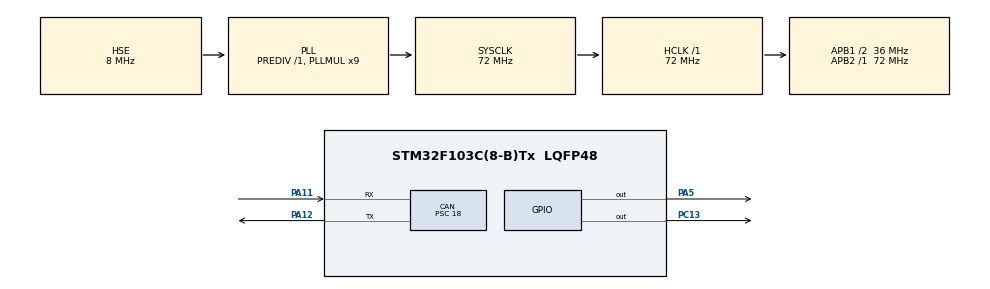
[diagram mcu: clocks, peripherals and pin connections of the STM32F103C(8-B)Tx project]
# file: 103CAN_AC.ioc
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CAN.BS1=CAN_BS1_2TQ
CAN.CalculateBaudRate=500000
CAN.CalculateTimeBit=2000
CAN.CalculateTimeQuantum=500.0
CAN.Prescaler=18
Mcu.Family=STM32F1
Mcu.Name=STM32F103C(8-B)Tx
Mcu.Package=LQFP48
NVIC.CAN1_RX1_IRQn=true\:0\:0\:false\:true\:true\:1\:true\:true\:true
NVIC.PriorityGroup=NVIC_PRIORITYGROUP_4
PA11.Mode=CAN_Activate
PA11.Signal=CAN_RX
PA12.Mode=CAN_Activate
PA12.Signal=CAN_TX
PA13.Mode=Serial_Wire
PA13.Signal=SYS_JTMS-SWDIO
PA14.Mode=Serial_Wire
PA14.Signal=SYS_JTCK-SWCLK
PA5.Signal=GPIO_Output
PC13-TAMPER-RTC.Signal=GPIO_Output
PD0-OSC_IN.Mode=HSE-External-Oscillator
PD0-OSC_IN.Signal=RCC_OSC_IN
PD1-OSC_OUT.Mode=HSE-External-Oscillator
PD1-OSC_OUT.Signal=RCC_OSC_OUT
ProjectManager.HeapSize=0x200
ProjectManager.StackSize=0x400
ProjectManager.TargetToolchain=STM32CubeIDE
RCC.AHBFreq_Value=72000000
RCC.APB1CLKDivider=RCC_HCLK_DIV2
RCC.APB1Freq_Value=36000000
RCC.APB1TimFreq_Value=72000000
RCC.APB2Freq_Value=72000000
RCC.APB2TimFreq_Value=72000000
RCC.HCLKFreq_Value=72000000
RCC.PLLMUL=RCC_PLL_MUL9
RCC.PLLSourceVirtual=RCC_PLLSOURCE_HSE
RCC.SYSCLKFreq_VALUE=72000000
RCC.SYSCLKSource=RCC_SYSCLKSOURCE_PLLCLK
RCC.USBFreq_Value=72000000
board=custom

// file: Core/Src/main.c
/* USER CODE BEGIN Header */
/**
  ******************************************************************************
  * @file           : main.c
  * @brief          : Main program body
  ******************************************************************************
  * @attention
  *
  * Copyright (c) 2024 STMicroelectronics.
  * All rights reserved.
  *
  * This software is licensed under terms that can be found in the LICENSE file
  * in the root directory of this software component.
  * If no LICENSE file comes with this software, it is provided AS-IS.
  *
  ******************************************************************************
  */
/* USER CODE END Header */
#include "main.h"

CAN_HandleTypeDef hcan;

/* USER CODE BEGIN PV */
CAN_RxHeaderTypeDef RxHeader;

uint8_t RxData[8];

uint32_t TxMailbox;

/* USER CODE END PV */

void SystemClock_Config(void);
static void MX_GPIO_Init(void);
static void MX_CAN_Init(void);
static void MX_NVIC_Init(void);

/* USER CODE BEGIN 0 */

void HAL_CAN_RxFifo1MsgPendingCallback(CAN_HandleTypeDef *hcan){

    HAL_CAN_GetRxMessage(hcan, CAN_RX_FIFO1, &RxHeader, RxData);

    if (RxHeader.StdId == 0x104) {
    	if(RxData[0] == 1){
    		HAL_GPIO_WritePin(GPIOA, GPIO_PIN_5, 1);
    		HAL_GPIO_WritePin(GPIOC, GPIO_PIN_13, 1);
    	}
    	else if(RxData[0] == 0){
    		HAL_GPIO_WritePin(GPIOA, GPIO_PIN_5, 0);
    		HAL_GPIO_WritePin(GPIOC, GPIO_PIN_13, 0);
    	}

    }
    else if(RxHeader.StdId == 0x200){
    	if(RxData[0] == 1){
    		HAL_GPIO_WritePin(GPIOA, GPIO_PIN_5, 1);
    		HAL_GPIO_WritePin(GPIOC, GPIO_PIN_13, 1);

    	}
    	else if(RxData[0] == 0){
    		HAL_GPIO_WritePin(GPIOA, GPIO_PIN_5, 0);
    		HAL_GPIO_WritePin(GPIOC, GPIO_PIN_13, 0);

    	}
    }

    HAL_CAN_ActivateNotification(&hcan, CAN_IT_RX_FIFO1_MSG_PENDING);
}
/* USER CODE END 0 */

int main(void)
{

  /* MCU Configuration--------------------------------------------------------*/

  /* Reset of all peripherals, Initializes the Flash interface and the Systick. */
  HAL_Init();

  /* Configure the system clock */
  SystemClock_Config();

  /* Initialize all configured peripherals */
  MX_GPIO_Init();
  MX_CAN_Init();

  /* Initialize interrupts */
  MX_NVIC_Init();
  /* USER CODE BEGIN 2 */
  HAL_CAN_Start(&hcan);

  //Activate the Notification
  HAL_CAN_ActivateNotification(&hcan, CAN_IT_RX_FIFO1_MSG_PENDING);

  /* USER CODE END 2 */

  /* Infinite loop */
  while (1)
  {

  }
}

void SystemClock_Config(void)
{
  RCC_OscInitTypeDef RCC_OscInitStruct = {0};
  RCC_ClkInitTypeDef RCC_ClkInitStruct = {0};

  /** Initializes the RCC Oscillators according to the specified parameters
  * in the RCC_OscInitTypeDef structure.
  */
  RCC_OscInitStruct.OscillatorType = RCC_OSCILLATORTYPE_HSE;
  RCC_OscInitStruct.HSEState = RCC_HSE_ON;
  RCC_OscInitStruct.HSEPredivValue = RCC_HSE_PREDIV_DIV1;
  RCC_OscInitStruct.HSIState = RCC_HSI_ON;
  RCC_OscInitStruct.PLL.PLLState = RCC_PLL_ON;
  RCC_OscInitStruct.PLL.PLLSource = RCC_PLLSOURCE_HSE;
  RCC_OscInitStruct.PLL.PLLMUL = RCC_PLL_MUL9;
  if (HAL_RCC_OscConfig(&RCC_OscInitStruct) != HAL_OK)
  {
    Error_Handler();
  }

  /** Initializes the CPU, AHB and APB buses clocks
  */
  RCC_ClkInitStruct.ClockType = RCC_CLOCKTYPE_HCLK|RCC_CLOCKTYPE_SYSCLK
                              |RCC_CLOCKTYPE_PCLK1|RCC_CLOCKTYPE_PCLK2;
  RCC_ClkInitStruct.SYSCLKSource = RCC_SYSCLKSOURCE_PLLCLK;
  RCC_ClkInitStruct.AHBCLKDivider = RCC_SYSCLK_DIV1;
  RCC_ClkInitStruct.APB1CLKDivider = RCC_HCLK_DIV2;
  RCC_ClkInitStruct.APB2CLKDivider = RCC_HCLK_DIV1;

  if (HAL_RCC_ClockConfig(&RCC_ClkInitStruct, FLASH_LATENCY_2) != HAL_OK)
  {
    Error_Handler();
  }
}

/**
  * @brief NVIC Configuration.
  * @retval None
  */
static void MX_NVIC_Init(void)
{
  /* CAN1_RX1_IRQn interrupt configuration */
  HAL_NVIC_SetPriority(CAN1_RX1_IRQn, 0, 0);
  HAL_NVIC_EnableIRQ(CAN1_RX1_IRQn);
}

static void MX_CAN_Init(void)
{

  hcan.Instance = CAN1;
  hcan.Init.Prescaler = 18;
  hcan.Init.Mode = CAN_MODE_NORMAL;
  hcan.Init.SyncJumpWidth = CAN_SJW_1TQ;
  hcan.Init.TimeSeg1 = CAN_BS1_2TQ;
  hcan.Init.TimeSeg2 = CAN_BS2_1TQ;
  hcan.Init.TimeTriggeredMode = DISABLE;
  hcan.Init.AutoBusOff = DISABLE;
  hcan.Init.AutoWakeUp = DISABLE;
  hcan.Init.AutoRetransmission = DISABLE;
  hcan.Init.ReceiveFifoLocked = DISABLE;
  hcan.Init.TransmitFifoPriority = DISABLE;
  if (HAL_CAN_Init(&hcan) != HAL_OK)
  {
    Error_Handler();
  }
  /* USER CODE BEGIN CAN_Init 2 */
  CAN_FilterTypeDef canFilter_manu;
  canFilter_manu.FilterActivation = CAN_FILTER_ENABLE;
  canFilter_manu.FilterBank = 10;
  canFilter_manu.FilterFIFOAssignment = CAN_FILTER_FIFO1;
  canFilter_manu.FilterIdHigh = 0x104 << 5;
  canFilter_manu.FilterIdLow = 0;
  canFilter_manu.FilterMaskIdHigh = 0x104 << 5;
  canFilter_manu.FilterMaskIdLow = 0x0000;
  canFilter_manu.FilterMode = CAN_FILTERMODE_IDMASK;
  canFilter_manu.FilterScale = CAN_FILTERSCALE_32BIT;
  canFilter_manu.SlaveStartFilterBank = 0;

  HAL_CAN_ConfigFilter(&hcan, &canFilter_manu);

  CAN_FilterTypeDef canFilter_auto;
  canFilter_auto.FilterActivation = CAN_FILTER_ENABLE;
  canFilter_auto.FilterBank = 9;
  canFilter_auto.FilterFIFOAssignment = CAN_FILTER_FIFO1;
  canFilter_auto.FilterIdHigh = 0x200 << 5;
  canFilter_auto.FilterIdLow = 0;
  canFilter_auto.FilterMaskIdHigh = 0x200 << 5;
  canFilter_auto.FilterMaskIdLow = 0x0000;
  canFilter_auto.FilterMode = CAN_FILTERMODE_IDMASK;
  canFilter_auto.FilterScale = CAN_FILTERSCALE_32BIT;
  canFilter_auto.SlaveStartFilterBank = 0;

  HAL_CAN_ConfigFilter(&hcan, &canFilter_auto);

  /* USER CODE END CAN_Init 2 */

}

static void MX_GPIO_Init(void)
{
  GPIO_InitTypeDef GPIO_InitStruct = {0};

  /* GPIO Ports Clock Enable */
  __HAL_RCC_GPIOC_CLK_ENABLE();
  __HAL_RCC_GPIOD_CLK_ENABLE();
  __HAL_RCC_GPIOA_CLK_ENABLE();

  /*Configure GPIO pin Output Level */
  HAL_GPIO_WritePin(GPIOC, GPIO_PIN_13, GPIO_PIN_RESET);

  /*Configure GPIO pin Output Level */
  HAL_GPIO_WritePin(GPIOA, GPIO_PIN_5, GPIO_PIN_RESET);

  /*Configure GPIO pin : PC13 */
  GPIO_InitStruct.Pin = GPIO_PIN_13;
  GPIO_InitStruct.Mode = GPIO_MODE_OUTPUT_PP;
  GPIO_InitStruct.Pull = GPIO_NOPULL;
  GPIO_InitStruct.Speed = GPIO_SPEED_FREQ_LOW;
  HAL_GPIO_Init(GPIOC, &GPIO_InitStruct);

  /*Configure GPIO pin : PA5 */
  GPIO_InitStruct.Pin = GPIO_PIN_5;
  GPIO_InitStruct.Mode = GPIO_MODE_OUTPUT_PP;
  GPIO_InitStruct.Pull = GPIO_NOPULL;
  GPIO_InitStruct.Speed = GPIO_SPEED_FREQ_LOW;
  HAL_GPIO_Init(GPIOA, &GPIO_InitStruct);

}

void Error_Handler(void)
{
  __disable_irq();
  while (1)
  {
  }
}
